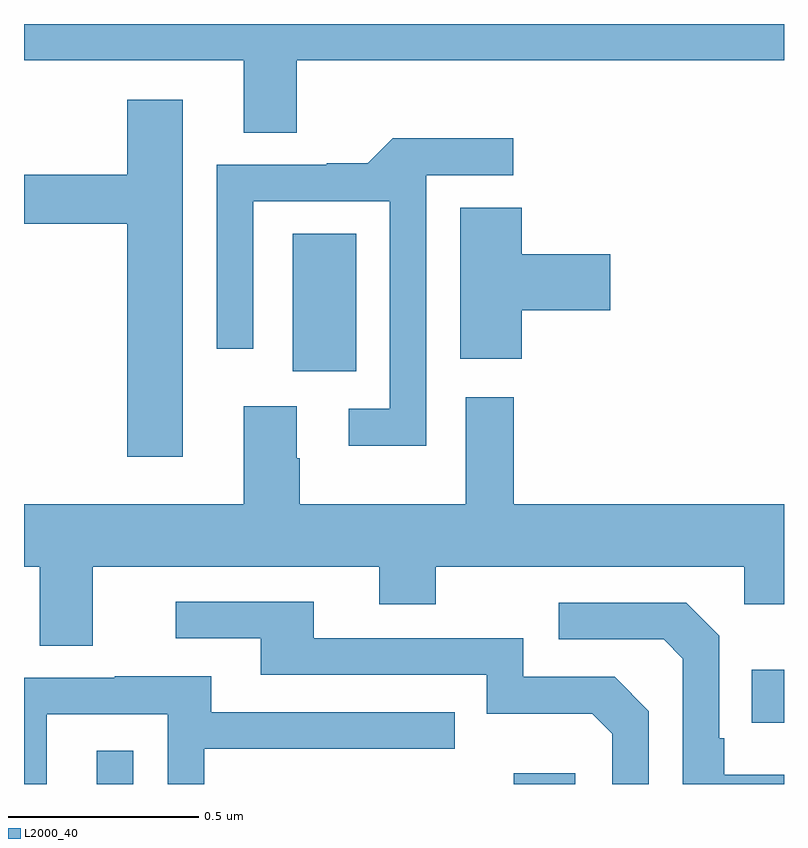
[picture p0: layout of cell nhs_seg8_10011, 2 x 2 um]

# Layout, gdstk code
import gdstk
lib = gdstk.Library(unit=1e-6, precision=1e-09)
def R(c, l, rs):  # rectangles x0, y0, x1, y1
    for r in rs: c.add(gdstk.rectangle(r[:2], r[2:], *l))
def P(c, l, *ps):  # polygons
    for p in ps: c.add(gdstk.Polygon(p, *l))
L2000_40 = (2000, 40)

nhs_seg8_10011 = lib.new_cell('nhs_seg8_10011')
R(nhs_seg8_10011, L2000_40, [(243.191,1143.9,243.288,1143.988), (244.289,1143.9,244.45,1143.928), (244.915,1144.061,245,1144.201), (243.707,1144.986,243.874,1145.348)])
P(nhs_seg8_10011, L2000_40, [(243.718,1145.804),(245,1145.804),(245,1145.9),(243,1145.9),(243,1145.804),(243.578,1145.804),(243.578,1145.614),(243.718,1145.614)],
  [(243.418,1145.701),(243.272,1145.701),(243.272,1145.503),(243,1145.503),(243,1145.374),(243.272,1145.374),(243.272,1144.761),(243.418,1144.761)],
  [(244.059,1145.502),(244.288,1145.502),(244.288,1145.6),(243.971,1145.6),(243.905,1145.534),(243.797,1145.534),(243.797,1145.529),(243.507,1145.529),(243.507,1145.046),(243.603,1145.046),(243.603,1145.433),(243.963,1145.433),(243.963,1144.887),(243.855,1144.887),(243.855,1144.79),(244.059,1144.79)],
  [(244.31,1145.147),(244.543,1145.147),(244.543,1145.294),(244.31,1145.294),(244.31,1145.417),(244.148,1145.417),(244.148,1145.019),(244.31,1145.019)],
  [(243.181,1144.472),(243.935,1144.472),(243.935,1144.373),(244.083,1144.373),(244.083,1144.472),(244.896,1144.472),(244.896,1144.373),(245,1144.373),(245,1144.636),(244.289,1144.636),(244.289,1144.918),(244.163,1144.918),(244.163,1144.636),(243.726,1144.636),(243.726,1144.757),(243.718,1144.757),(243.718,1144.894),(243.578,1144.894),(243.578,1144.636),(243,1144.636),(243,1144.472),(243.041,1144.472),(243.041,1144.264),(243.181,1144.264)],
  [(244.644,1144.092),(244.554,1144.182),(244.314,1144.182),(244.314,1144.284),(243.763,1144.284),(243.763,1144.38),(243.399,1144.38),(243.399,1144.284),(243.623,1144.284),(243.623,1144.188),(244.218,1144.188),(244.218,1144.085),(244.495,1144.085),(244.548,1144.032),(244.548,1143.9),(244.644,1143.9)],
  [(245,1143.925),(244.843,1143.925),(244.843,1144.021),(244.83,1144.021),(244.83,1144.29),(244.743,1144.377),(244.407,1144.377),(244.407,1144.281),(244.683,1144.281),(244.734,1144.23),(244.734,1143.9),(245,1143.9)],
  [(243.06,1144.083),(243.378,1144.083),(243.378,1143.9),(243.474,1143.9),(243.474,1143.993),(244.133,1143.993),(244.133,1144.089),(243.493,1144.089),(243.493,1144.183),(243.239,1144.183),(243.239,1144.179),(243,1144.179),(243,1143.9),(243.06,1143.9)])

lib.write_gds('nhs_seg8_10011.gds')
